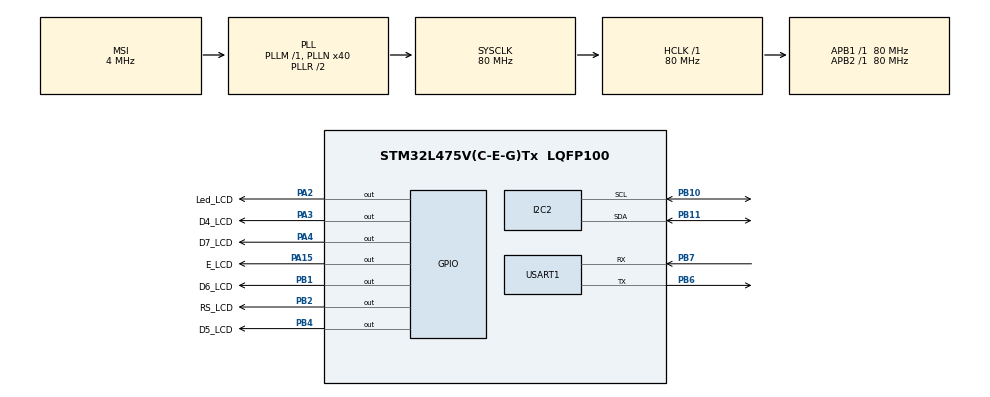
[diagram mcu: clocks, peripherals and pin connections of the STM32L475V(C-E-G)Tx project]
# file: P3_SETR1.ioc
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I2C2.Timing=0x10D19CE4
Mcu.Family=STM32L4
Mcu.Name=STM32L475V(C-E-G)Tx
Mcu.Package=LQFP100
NVIC.PriorityGroup=NVIC_PRIORITYGROUP_4
NVIC.USART1_IRQn=true\:0\:0\:false\:false\:true\:true\:true\:true
PA15\ (JTDI).GPIO_Label=E_LCD
PA15\ (JTDI).Signal=GPIO_Output
PA2.GPIO_Label=Led_LCD
PA2.Signal=GPIO_Output
PA3.GPIO_Label=D4_LCD
PA3.Signal=GPIO_Output
PA4.GPIO_Label=D7_LCD
PA4.Signal=GPIO_Output
PB1.GPIO_Label=D6_LCD
PB1.Signal=GPIO_Output
PB10.Mode=I2C
PB10.Signal=I2C2_SCL
PB11.Mode=I2C
PB11.Signal=I2C2_SDA
PB2.GPIO_Label=RS_LCD
PB2.Signal=GPIO_Output
PB4\ (NJTRST).GPIO_Label=D5_LCD
PB4\ (NJTRST).Signal=GPIO_Output
PB6.Mode=Asynchronous
PB6.Signal=USART1_TX
PB7.Mode=Asynchronous
PB7.Signal=USART1_RX
ProjectManager.HeapSize=0x200
ProjectManager.StackSize=0x400
ProjectManager.TargetToolchain=STM32CubeIDE
RCC.AHBFreq_Value=80000000
RCC.APB1Freq_Value=80000000
RCC.APB1TimFreq_Value=80000000
RCC.APB2Freq_Value=80000000
RCC.APB2TimFreq_Value=80000000
RCC.CortexFreq_Value=80000000
RCC.HCLKFreq_Value=80000000
RCC.HSE_VALUE=8000000
RCC.HSI_VALUE=16000000
RCC.LSE_VALUE=32768
RCC.MSI_VALUE=4000000
RCC.PLLN=40
RCC.SYSCLKFreq_VALUE=80000000
RCC.SYSCLKSource=RCC_SYSCLKSOURCE_PLLCLK
RCC.VCOOutputFreq_Value=160000000
USART1.VirtualMode-Asynchronous=VM_ASYNC
board=custom

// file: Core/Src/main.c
/* USER CODE BEGIN Header */
/**
  ******************************************************************************
  * @file           : main.c
  * @brief          : Main program body
  ******************************************************************************
  * @attention
  *
  * Copyright (c) 2025 STMicroelectronics.
  * All rights reserved.
  *
  * This software is licensed under terms that can be found in the LICENSE file
  * in the root directory of this software component.
  * If no LICENSE file comes with this software, it is provided AS-IS.
  *
  ******************************************************************************
  */
/* USER CODE END Header */
#include "main.h"

/* USER CODE BEGIN Includes */
#include "hd44780.h"
#include "LPS22.h"
#include "HTS221.h"
#include <stdio.h>
/* USER CODE END Includes */

I2C_HandleTypeDef hi2c2;

UART_HandleTypeDef huart1;

/* USER CODE BEGIN PV */
uint8_t rxByte;
char displayMode = ' '; // para los comandos
int useFahrenheit = 0; // 0 -> ºC, 1 -> ºF
float maxTemp = -100.0, minTemp = 100.0;
float maxHum = 0.0, minHum = 100.0;
float maxPress = 0.0, minPress = 2000.0;
/* USER CODE END PV */

void SystemClock_Config(void);
static void MX_GPIO_Init(void);
static void MX_I2C2_Init(void);
static void MX_USART1_UART_Init(void);

/* USER CODE BEGIN 0 */
void __io_putchar(int ch)
{
	  uint8_t c[1];
	 c[0] = ch & 0x00ff;
	 HAL_UART_Transmit(&huart1, &*c, 1, 10);
	 return ch;
}

void HAL_UART_RxCpltCallback(UART_HandleTypeDef *huart)
{
	switch (rxByte) {
	  case 'm':
	  case 'n':
		displayMode = rxByte;
		break;
	  case 'c':
		maxTemp = -100.0; minTemp = 100.0;
		maxHum = 0.0; minHum = 100.0;
		maxPress = 0.0; minPress = 2000.0;
		displayMode = ' ';
		break;
	  case 'u':
		useFahrenheit = !useFahrenheit;
		break;
	  default:
		displayMode = ' ';
		break;
	}
	HAL_UART_Receive_IT(&huart1, &rxByte, 1);
}
/* USER CODE END 0 */

int main(void)
{

  /* MCU Configuration--------------------------------------------------------*/

  /* Reset of all peripherals, Initializes the Flash interface and the Systick. */
  HAL_Init();

  /* Configure the system clock */
  SystemClock_Config();

  /* Initialize all configured peripherals */
  MX_GPIO_Init();
  MX_I2C2_Init();
  MX_USART1_UART_Init();
  /* USER CODE BEGIN 2 */

  // LCD44780 INIT
  lcd_reset();
  lcd_display_settings(1,0,0);
  lcd_clear();

  // LPS22 INIT
  LPS22_Init();

  // HTS221 INIT
  HTS221_Init();

  // USART INTERRUPTIONS
  HAL_UART_Receive_IT(&huart1, &rxByte, 1);

  /* USER CODE END 2 */

  /* Infinite loop */
  /* USER CODE BEGIN WHILE */
  while (1)
  {
	  uint8_t str[20];
	  float pressure = LPS22_ReadPress();
	  THSample ths = HTS221_Read();

	  if (ths.temp > maxTemp) maxTemp = ths.temp;
	  if (ths.temp < minTemp) minTemp = ths.temp;
	  if (ths.hum > maxHum) maxHum = ths.hum;
	  if (ths.hum < minHum) minHum = ths.hum;
	  if (pressure > maxPress) maxPress = pressure;
	  if (pressure < minPress) minPress = pressure;

	  float tempToShow = useFahrenheit ? (ths.temp * 9.0 / 5.0) + 32 : ths.temp; // convertir a ºF si es necesario
	  float pressureToShow = useFahrenheit ? pressure * 0.75006 : pressure; // convertir a mmHg si es necesario
	  char tempUnit = useFahrenheit ? 'F' : 'C';
	  const char *pressUnit = useFahrenheit ? "mmHg" : "hPa";

	  switch (displayMode) {
	      case 'm':
	          sprintf(str, "Max: %.1f%c %.1f%%", maxTemp, tempUnit, maxHum);
	          moveToXY(0, 0);
	          lcd_print(str);
	          printf("%s\n\r", str);  // Enviar a consola UART

	          sprintf(str, "Pres: %.1f%s", maxPress, pressUnit);
	          moveToXY(1, 1);
	          lcd_print(str);
	          printf("%s\n\r", str);  // Enviar a consola UART
	          break;

	      case 'n':
	          sprintf(str, "Min: %.1f%c %.1f%%", minTemp, tempUnit, minHum);
	          moveToXY(0, 0);
	          lcd_print(str);
	          printf("%s\n\r", str);  // Enviar a consola UART

	          sprintf(str, "Pres: %.1f%s", minPress, pressUnit);
	          moveToXY(1, 1);
	          lcd_print(str);
	          printf("%s\n\r", str);  // Enviar a consola UART
	          break;

	      default:
	          sprintf(str, "T:%.1f%c H:%.1f%%", tempToShow, tempUnit, ths.hum);
	          moveToXY(0, 0);
	          lcd_print(str);
	          printf("%s\n\r", str);  // Enviar a consola UART

	          sprintf(str, "Pres: %.1f%s", pressureToShow, pressUnit);
	          moveToXY(1, 1);
	          lcd_print(str);
	          printf("%s\n\r", str);  // Enviar a consola UART
	          break;
	  }

	  HAL_Delay(500);
    /* USER CODE END WHILE */

  }
}

void SystemClock_Config(void)
{
  RCC_OscInitTypeDef RCC_OscInitStruct = {0};
  RCC_ClkInitTypeDef RCC_ClkInitStruct = {0};

  /** Configure the main internal regulator output voltage
  */
  if (HAL_PWREx_ControlVoltageScaling(PWR_REGULATOR_VOLTAGE_SCALE1) != HAL_OK)
  {
    Error_Handler();
  }

  /** Initializes the RCC Oscillators according to the specified parameters
  * in the RCC_OscInitTypeDef structure.
  */
  RCC_OscInitStruct.OscillatorType = RCC_OSCILLATORTYPE_MSI;
  RCC_OscInitStruct.MSIState = RCC_MSI_ON;
  RCC_OscInitStruct.MSICalibrationValue = 0;
  RCC_OscInitStruct.MSIClockRange = RCC_MSIRANGE_6;
  RCC_OscInitStruct.PLL.PLLState = RCC_PLL_ON;
  RCC_OscInitStruct.PLL.PLLSource = RCC_PLLSOURCE_MSI;
  RCC_OscInitStruct.PLL.PLLM = 1;
  RCC_OscInitStruct.PLL.PLLN = 40;
  RCC_OscInitStruct.PLL.PLLP = RCC_PLLP_DIV7;
  RCC_OscInitStruct.PLL.PLLQ = RCC_PLLQ_DIV2;
  RCC_OscInitStruct.PLL.PLLR = RCC_PLLR_DIV2;
  if (HAL_RCC_OscConfig(&RCC_OscInitStruct) != HAL_OK)
  {
    Error_Handler();
  }

  /** Initializes the CPU, AHB and APB buses clocks
  */
  RCC_ClkInitStruct.ClockType = RCC_CLOCKTYPE_HCLK|RCC_CLOCKTYPE_SYSCLK
                              |RCC_CLOCKTYPE_PCLK1|RCC_CLOCKTYPE_PCLK2;
  RCC_ClkInitStruct.SYSCLKSource = RCC_SYSCLKSOURCE_PLLCLK;
  RCC_ClkInitStruct.AHBCLKDivider = RCC_SYSCLK_DIV1;
  RCC_ClkInitStruct.APB1CLKDivider = RCC_HCLK_DIV1;
  RCC_ClkInitStruct.APB2CLKDivider = RCC_HCLK_DIV1;

  if (HAL_RCC_ClockConfig(&RCC_ClkInitStruct, FLASH_LATENCY_4) != HAL_OK)
  {
    Error_Handler();
  }
}

static void MX_I2C2_Init(void)
{

  hi2c2.Instance = I2C2;
  hi2c2.Init.Timing = 0x10D19CE4;
  hi2c2.Init.OwnAddress1 = 0;
  hi2c2.Init.AddressingMode = I2C_ADDRESSINGMODE_7BIT;
  hi2c2.Init.DualAddressMode = I2C_DUALADDRESS_DISABLE;
  hi2c2.Init.OwnAddress2 = 0;
  hi2c2.Init.OwnAddress2Masks = I2C_OA2_NOMASK;
  hi2c2.Init.GeneralCallMode = I2C_GENERALCALL_DISABLE;
  hi2c2.Init.NoStretchMode = I2C_NOSTRETCH_DISABLE;
  if (HAL_I2C_Init(&hi2c2) != HAL_OK)
  {
    Error_Handler();
  }

  /** Configure Analogue filter
  */
  if (HAL_I2CEx_ConfigAnalogFilter(&hi2c2, I2C_ANALOGFILTER_ENABLE) != HAL_OK)
  {
    Error_Handler();
  }

  /** Configure Digital filter
  */
  if (HAL_I2CEx_ConfigDigitalFilter(&hi2c2, 0) != HAL_OK)
  {
    Error_Handler();
  }

}

static void MX_USART1_UART_Init(void)
{

  huart1.Instance = USART1;
  huart1.Init.BaudRate = 115200;
  huart1.Init.WordLength = UART_WORDLENGTH_8B;
  huart1.Init.StopBits = UART_STOPBITS_1;
  huart1.Init.Parity = UART_PARITY_NONE;
  huart1.Init.Mode = UART_MODE_TX_RX;
  huart1.Init.HwFlowCtl = UART_HWCONTROL_NONE;
  huart1.Init.OverSampling = UART_OVERSAMPLING_16;
  huart1.Init.OneBitSampling = UART_ONE_BIT_SAMPLE_DISABLE;
  huart1.AdvancedInit.AdvFeatureInit = UART_ADVFEATURE_NO_INIT;
  if (HAL_UART_Init(&huart1) != HAL_OK)
  {
    Error_Handler();
  }

}

static void MX_GPIO_Init(void)
{
  GPIO_InitTypeDef GPIO_InitStruct = {0};

  /* GPIO Ports Clock Enable */
  __HAL_RCC_GPIOA_CLK_ENABLE();
  __HAL_RCC_GPIOB_CLK_ENABLE();

  /*Configure GPIO pin Output Level */
  HAL_GPIO_WritePin(GPIOA, Led_LCD_Pin|D4_LCD_Pin|D7_LCD_Pin|E_LCD_Pin, GPIO_PIN_RESET);

  /*Configure GPIO pin Output Level */
  HAL_GPIO_WritePin(GPIOB, D6_LCD_Pin|RS_LCD_Pin|D5_LCD_Pin, GPIO_PIN_RESET);

  /*Configure GPIO pins : Led_LCD_Pin D4_LCD_Pin D7_LCD_Pin E_LCD_Pin */
  GPIO_InitStruct.Pin = Led_LCD_Pin|D4_LCD_Pin|D7_LCD_Pin|E_LCD_Pin;
  GPIO_InitStruct.Mode = GPIO_MODE_OUTPUT_PP;
  GPIO_InitStruct.Pull = GPIO_NOPULL;
  GPIO_InitStruct.Speed = GPIO_SPEED_FREQ_LOW;
  HAL_GPIO_Init(GPIOA, &GPIO_InitStruct);

  /*Configure GPIO pins : D6_LCD_Pin RS_LCD_Pin D5_LCD_Pin */
  GPIO_InitStruct.Pin = D6_LCD_Pin|RS_LCD_Pin|D5_LCD_Pin;
  GPIO_InitStruct.Mode = GPIO_MODE_OUTPUT_PP;
  GPIO_InitStruct.Pull = GPIO_NOPULL;
  GPIO_InitStruct.Speed = GPIO_SPEED_FREQ_LOW;
  HAL_GPIO_Init(GPIOB, &GPIO_InitStruct);

}

void Error_Handler(void)
{
  __disable_irq();
  while (1)
  {
  }
}
